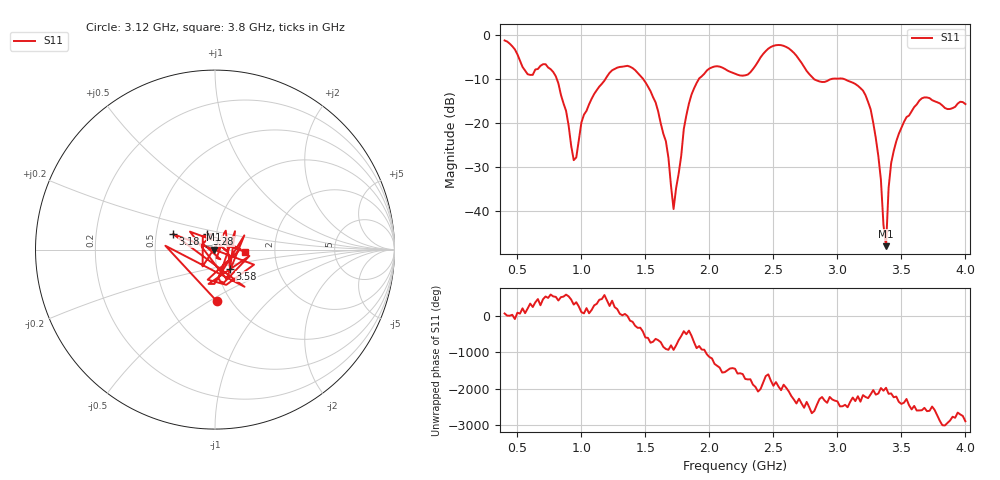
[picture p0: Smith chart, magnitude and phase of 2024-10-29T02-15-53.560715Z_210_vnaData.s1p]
!Created with skrf (http://scikit-rf.org).
# Hz S RI R 50.0
!freq ReS11 ImS11
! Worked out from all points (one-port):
!   181 points, 400 MHz to 4 GHz, reference 50 ohm
!   lowest |S11| = -48.1 dB at 3.38 GHz (marker M1), VSWR 1.01, Z = 49.6 + j0.00305 ohm
!   |S11| at or under -10 dB: 807.6 MHz to 1.188 GHz (380.4 MHz wide, 38.1 % of centre); 1.482 GHz to 1.918 GHz (435.6 MHz wide, 25.6 % of centre); 3.05 GHz to end of sweep (the widest 3 of 4)
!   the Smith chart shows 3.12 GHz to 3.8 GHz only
!   S11 on the Smith chart (normalised r, x): 3.12 GHz: 0.86, -0.54; 3.18 GHz: 0.61, +0.11; 3.28 GHz: 0.90, +0.16; 3.58 GHz: 1.15, -0.25; 3.8 GHz: 1.40, -0.04
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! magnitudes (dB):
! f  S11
! 400 MHz  -1.2
! 580 MHz  -8.9
! 760 MHz  -7.8
! 860 MHz  -15.6
! 940 MHz  -28.5
! 1.08 GHz  -14.5
! 1.3 GHz  -7.3
! 1.58 GHz  -15.4
! 1.66 GHz  -24.2
! 1.72 GHz  -39.7
! 1.76 GHz  -31.6
! 1.82 GHz  -18.3
! 1.92 GHz  -9.9
! 2.2 GHz  -8.8
! 2.66 GHz  -4.0
! 2.82 GHz  -10.1
! 3.1 GHz  -10.6
! 3.12 GHz  -10.8
! 3.18 GHz  -12.1
! 3.28 GHz  -20.0
! 3.34 GHz  -33.0
! 3.38 GHz  -48.1
! 3.4 GHz  -34.9
! 3.42 GHz  -29.2
! 3.56 GHz  -18.3
! 3.58 GHz  -17.4
! 3.8 GHz  -15.6
! 4 GHz  -15.7
